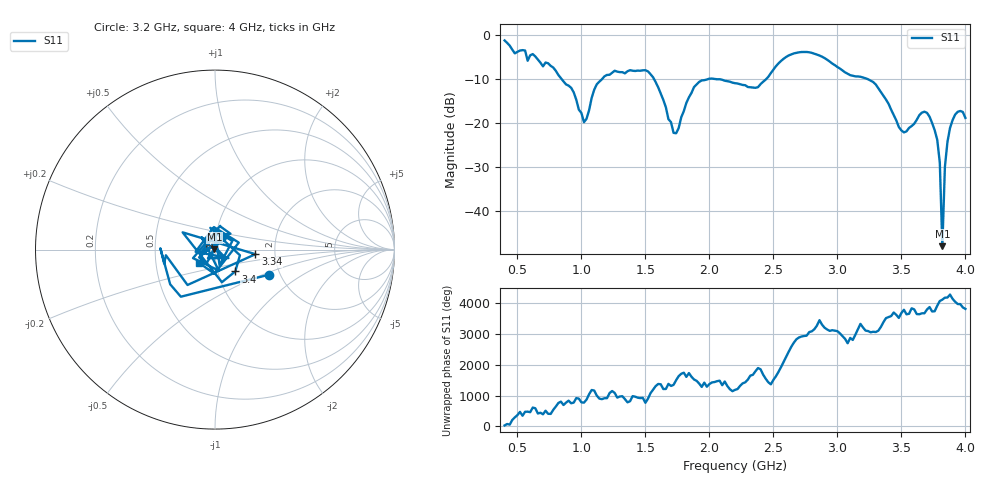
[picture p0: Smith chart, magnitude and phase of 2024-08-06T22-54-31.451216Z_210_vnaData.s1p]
!Created with skrf (http://scikit-rf.org).
# Hz S RI R 50.0
!freq ReS11 ImS11
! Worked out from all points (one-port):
!   181 points, 400 MHz to 4 GHz, reference 50 ohm
!   lowest |S11| = -47.9 dB at 3.82 GHz (marker M1), VSWR 1.01, Z = 49.6 + j0.123 ohm
!   |S11| at or under -10 dB: 1.568 GHz to 1.986 GHz (418.2 MHz wide, 23.5 % of centre); 2.08 GHz to 2.442 GHz (362.4 MHz wide, 16 % of centre); 3.239 GHz to end of sweep (the widest 3 of 5)
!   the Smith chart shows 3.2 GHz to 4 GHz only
!   S11 on the Smith chart (normalised r, x): 3.2 GHz: 1.75, -0.55; 3.34 GHz: 1.58, -0.09; 3.4 GHz: 1.21, -0.30; 4 GHz: 0.83, -0.13
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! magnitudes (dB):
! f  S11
! 400 MHz  -1.2
! 860 MHz  -10.5
! 940 MHz  -13.0
! 1.02 GHz  -19.7
! 1.12 GHz  -11.1
! 1.3 GHz  -8.4
! 1.52 GHz  -8.2
! 1.6 GHz  -11.8
! 1.72 GHz  -22.2
! 1.76 GHz  -21.1
! 1.92 GHz  -10.6
! 2.2 GHz  -10.9
! 2.38 GHz  -11.8
! 2.66 GHz  -4.1
! 3.1 GHz  -9.1
! 3.2 GHz  -9.6
! 3.34 GHz  -12.9
! 3.4 GHz  -15.6
! 3.5 GHz  -21.6
! 3.56 GHz  -21.1
! 3.68 GHz  -17.4
! 3.76 GHz  -21.6
! 3.8 GHz  -28.9
! 3.82 GHz  -47.9
! 3.84 GHz  -29.9
! 3.86 GHz  -24.2
! 3.92 GHz  -18.0
! 4 GHz  -18.8
